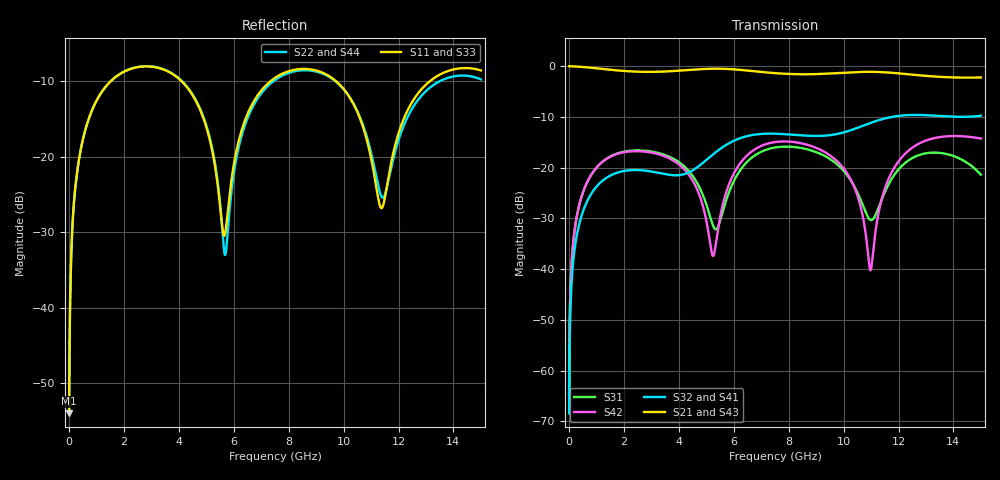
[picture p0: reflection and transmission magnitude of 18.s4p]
! Created with skrf 1.8.0 (http://scikit-rf.org).
# GHz S RI R 50.0
!freq ReS11 ImS11 ReS12 ImS12 ReS13 ImS13
! ReS14 ImS14
! ReS21 ImS21 ReS22 ImS22 ReS23 ImS23
! ReS24 ImS24
! ReS31 ImS31 ReS32 ImS32 ReS33 ImS33
! ReS34 ImS34
! ReS41 ImS41 ReS42 ImS42 ReS43 ImS43
! ReS44 ImS44
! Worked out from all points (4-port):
!   2499 points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, 5 MHz to 15 GHz, reference 50 ohm
!   strongest paths, dB at 5 MHz, 3.476 GHz, 7.19 GHz, 11.1 GHz, 15 GHz:
!     S21: 0.0, -1.1, -1.2, -1.1, -2.2
!     S43: 0.0, -1.1, -1.2, -1.1, -2.2
!     S32: -68.4, -21.3, -13.3, -11.0, -9.8
!     S41: -68.4, -21.3, -13.3, -11.0, -9.8
!     S42: -64.6, -17.8, -15.3, -35.4, -14.3
!     S31: -64.6, -17.5, -16.5, -30.0, -21.4
!   lowest |S11| = -54.0 dB at 5 MHz (marker M1), VSWR 1.00, Z = 50.2 + j0.121 ohm
!   |S11| at or under -10 dB: start of sweep to 1.521 GHz; 4.1 GHz to 7.338 GHz (3.238 GHz wide, 56.6 % of centre); 9.728 GHz to 13.14 GHz (3.413 GHz wide, 29.8 % of centre)
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0.005  0.00158 0.00121  0.9984 -0.00308  7.78e-05 0.000584  -7.58e-05 -0.000373
       0.9984 -0.00308  0.00158 0.00121  -7.58e-05 -0.000373  7.78e-05 0.000584
       7.78e-05 0.000584  -7.58e-05 -0.000373  0.00158 0.00121  0.9984 -0.00308
       -7.58e-05 -0.000373  7.78e-05 0.000584  0.9984 -0.00308  0.00158 0.00121
0.3626511  0.0283 0.0911  0.961 -0.221  0.0128 0.0396  -0.0106 -0.0249
           0.961 -0.221  0.0284 0.0911  -0.0106 -0.0249  0.0124 0.0397
           0.0128 0.0396  -0.0106 -0.0249  0.0283 0.0911  0.961 -0.221
           -0.0106 -0.0249  0.0124 0.0397  0.961 -0.221  0.0284 0.0911
1.619545  0.2739 0.181  0.5438 -0.7344  0.1223 0.0533  -0.0862 -0.00563
          0.5438 -0.7344  0.275 0.1802  -0.0862 -0.00554  0.1187 0.0582
          0.1223 0.0533  -0.0862 -0.00554  0.2739 0.1811  0.5438 -0.7343
          -0.0862 -0.00563  0.1187 0.0582  0.5438 -0.7343  0.2751 0.1802
5.527303  0.0314 -0.0288  -0.9318 -0.1383  -0.0219 0.0226  -0.0198 0.1531
          -0.9318 -0.1383  0.0244 -0.0366  -0.0183 0.1532  0.0184 0.03
          -0.0219 0.0226  -0.0183 0.1532  0.0323 -0.0297  -0.9317 -0.1386
          -0.0198 0.1531  0.0184 0.03  -0.9317 -0.1386  0.0238 -0.0377
8.822426  0.3756 -0.046  0.0215 0.8318  0.1261 -0.0768  0.1943 -0.0645
          0.0215 0.8318  0.3702 -0.0347  0.1941 -0.0674  0.1296 -0.0993
          0.1261 -0.0768  0.1941 -0.0674  0.3737 -0.0463  0.0219 0.8324
          0.1943 -0.0645  0.1296 -0.0993  0.0219 0.8324  0.3691 -0.0347
10.97957  0.064 -0.0795  0.8167 0.3225  -0.0305 0.000366  0.097 -0.2578
          0.8167 0.3225  0.0735 -0.0825  0.0922 -0.2596  -0.00937 0.00271
          -0.0305 0.000366  0.0922 -0.2596  0.0647 -0.0789  0.8171 0.3217
          0.097 -0.2578  -0.00937 0.00271  0.8171 0.3217  0.0721 -0.0824
15  0.3627 -0.087  -0.1461 -0.758  0.0327 -0.0787  -0.3124 0.0846
    -0.1461 -0.758  0.3192 -0.061  -0.3111 0.0928  0.0114 -0.1931
    0.0327 -0.0787  -0.3111 0.0928  0.3551 -0.0851  -0.1494 -0.7603
    -0.3124 0.0846  0.0114 -0.1931  -0.1494 -0.7603  0.3115 -0.0628
